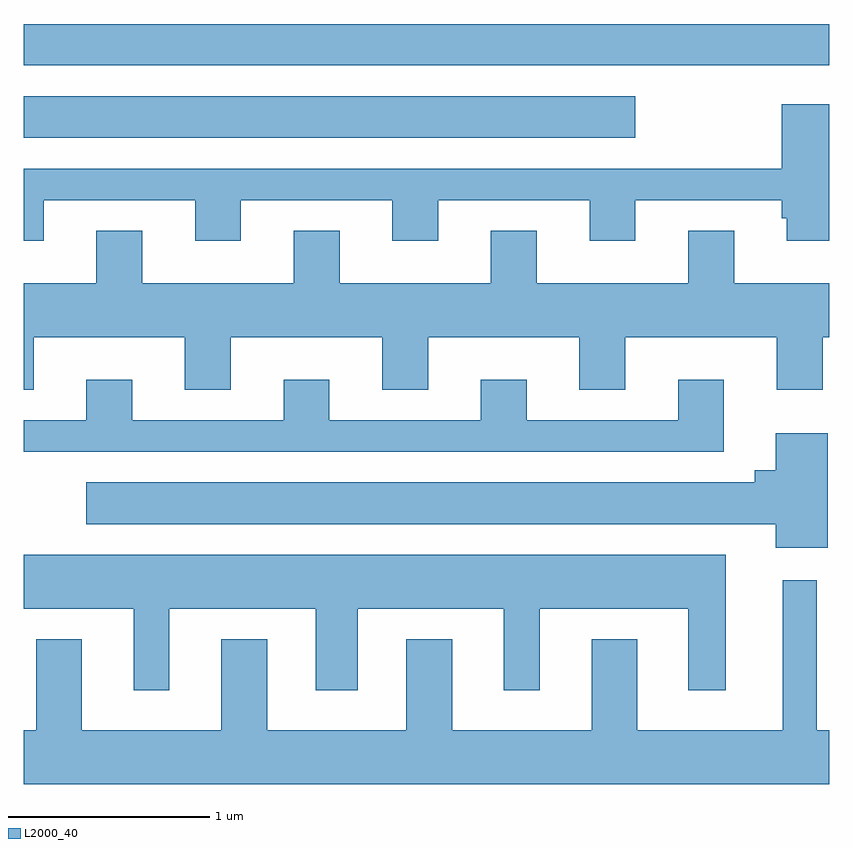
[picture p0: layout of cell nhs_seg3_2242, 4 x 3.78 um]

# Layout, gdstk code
import gdstk
lib = gdstk.Library(unit=1e-6, precision=1e-09)
def R(c, l, rs):  # rectangles x0, y0, x1, y1
    for r in rs: c.add(gdstk.rectangle(r[:2], r[2:], *l))
def P(c, l, *ps):  # polygons
    for p in ps: c.add(gdstk.Polygon(p, *l))
L2000_40 = (2000, 40)

nhs_seg3_2242 = lib.new_cell('nhs_seg3_2242')
R(nhs_seg3_2242, L2000_40, [(249.611,1251.326,252.649,1251.534), (249.611,1251.686,253.611,1251.892)])
P(nhs_seg3_2242, L2000_40, [(249.709,1251.016),(250.461,1251.016),(250.461,1250.816),(250.689,1250.816),(250.689,1251.016),(251.441,1251.016),(251.441,1250.816),(251.669,1250.816),(251.669,1251.016),(252.421,1251.016),(252.421,1250.816),(252.649,1250.816),(252.649,1251.016),(253.376,1251.016),(253.376,1250.926),(253.401,1250.926),(253.401,1250.816),(253.611,1250.816),(253.611,1251.494),(253.376,1251.494),(253.376,1251.174),(249.611,1251.174),(249.611,1250.816),(249.709,1250.816)],
  [(249.659,1250.336),(250.411,1250.336),(250.411,1250.076),(250.639,1250.076),(250.639,1250.336),(251.391,1250.336),(251.391,1250.076),(251.619,1250.076),(251.619,1250.336),(252.371,1250.336),(252.371,1250.076),(252.599,1250.076),(252.599,1250.336),(253.351,1250.336),(253.351,1250.076),(253.579,1250.076),(253.579,1250.336),(253.611,1250.336),(253.611,1250.604),(253.139,1250.604),(253.139,1250.864),(252.911,1250.864),(252.911,1250.604),(252.159,1250.604),(252.159,1250.864),(251.931,1250.864),(251.931,1250.604),(251.179,1250.604),(251.179,1250.864),(250.951,1250.864),(250.951,1250.604),(250.199,1250.604),(250.199,1250.864),(249.971,1250.864),(249.971,1250.604),(249.611,1250.604),(249.611,1250.076),(249.659,1250.076)],
  [(253.089,1250.124),(252.861,1250.124),(252.861,1249.924),(252.109,1249.924),(252.109,1250.124),(251.881,1250.124),(251.881,1249.924),(251.129,1249.924),(251.129,1250.124),(250.901,1250.124),(250.901,1249.924),(250.149,1249.924),(250.149,1250.124),(249.921,1250.124),(249.921,1249.924),(249.611,1249.924),(249.611,1249.766),(253.089,1249.766)],
  [(253.604,1249.859),(253.346,1249.859),(253.346,1249.674),(253.241,1249.674),(253.241,1249.614),(249.921,1249.614),(249.921,1249.406),(253.346,1249.406),(253.346,1249.291),(253.604,1249.291)],
  [(250.334,1248.986),(251.061,1248.986),(251.061,1248.581),(251.269,1248.581),(251.269,1248.986),(251.996,1248.986),(251.996,1248.581),(252.174,1248.581),(252.174,1248.986),(252.911,1248.986),(252.911,1248.581),(253.099,1248.581),(253.099,1249.254),(249.611,1249.254),(249.611,1248.986),(250.156,1248.986),(250.156,1248.581),(250.334,1248.581)],
  [(253.611,1248.384),(253.549,1248.384),(253.549,1249.128),(253.381,1249.128),(253.381,1248.384),(252.659,1248.384),(252.659,1248.834),(252.431,1248.834),(252.431,1248.384),(251.739,1248.384),(251.739,1248.834),(251.511,1248.834),(251.511,1248.384),(250.819,1248.384),(250.819,1248.834),(250.591,1248.834),(250.591,1248.384),(249.899,1248.384),(249.899,1248.834),(249.671,1248.834),(249.671,1248.384),(249.611,1248.384),(249.611,1248.116),(253.611,1248.116)])

lib.write_gds('nhs_seg3_2242.gds')
